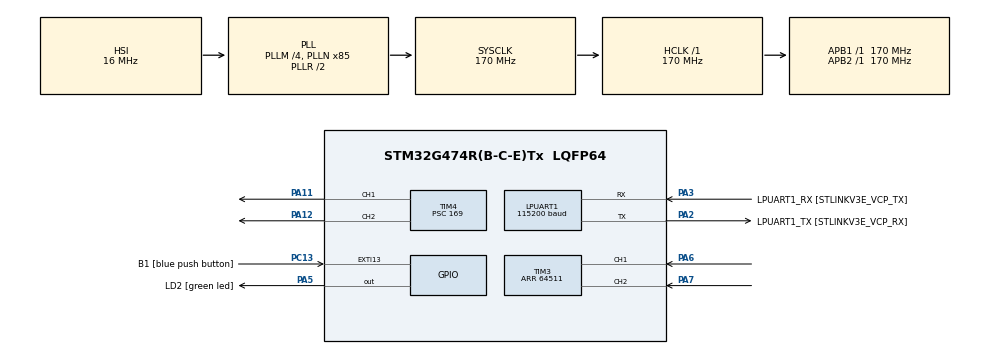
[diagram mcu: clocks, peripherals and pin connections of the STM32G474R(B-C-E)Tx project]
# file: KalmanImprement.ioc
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LPUART1.BaudRate=115200
LPUART1.WordLength=UART_WORDLENGTH_8B
Mcu.Family=STM32G4
Mcu.Name=STM32G474R(B-C-E)Tx
Mcu.Package=LQFP64
NVIC.EXTI15_10_IRQn=true\:0\:0\:false\:false\:true\:true\:true\:true
NVIC.PriorityGroup=NVIC_PRIORITYGROUP_4
NVIC.TIM6_DAC_IRQn=true\:0\:0\:false\:false\:true\:true\:true\:true
PA11.Signal=S_TIM4_CH1
PA12.Signal=S_TIM4_CH2
PA13.GPIO_Label=T_SWDIO
PA13.Mode=Serial_Wire
PA13.Signal=SYS_JTMS-SWDIO
PA14.GPIO_Label=T_SWCLK
PA14.Mode=Serial_Wire
PA14.Signal=SYS_JTCK-SWCLK
PA2.GPIO_Label=LPUART1_TX [STLINKV3E_VCP_RX]
PA2.Mode=Asynchronous
PA2.Signal=LPUART1_TX
PA3.GPIO_Label=LPUART1_RX [STLINKV3E_VCP_TX]
PA3.Mode=Asynchronous
PA3.Signal=LPUART1_RX
PA5.GPIO_Label=LD2 [green led]
PA5.Signal=GPIO_Output
PA6.Signal=S_TIM3_CH1
PA7.Signal=S_TIM3_CH2
PB3.GPIO_Label=T_SWO
PB3.Signal=SYS_JTDO-SWO
PC13.GPIO_Label=B1 [blue push button]
PC13.Signal=GPXTI13
PC14-OSC32_IN.Mode=LSE-External-Oscillator
PC14-OSC32_IN.Signal=RCC_OSC32_IN
PC15-OSC32_OUT.Mode=LSE-External-Oscillator
PC15-OSC32_OUT.Signal=RCC_OSC32_OUT
PF0-OSC_IN.Mode=HSE-External-Oscillator
PF0-OSC_IN.Signal=RCC_OSC_IN
PF1-OSC_OUT.Mode=HSE-External-Oscillator
PF1-OSC_OUT.Signal=RCC_OSC_OUT
ProjectManager.HeapSize=0x200
ProjectManager.StackSize=0x400
ProjectManager.TargetToolchain=STM32CubeIDE
RCC.ADC12Freq_Value=170000000
RCC.ADC345Freq_Value=170000000
RCC.AHBFreq_Value=170000000
RCC.APB1Freq_Value=170000000
RCC.APB1TimFreq_Value=170000000
RCC.APB2Freq_Value=170000000
RCC.APB2TimFreq_Value=170000000
RCC.CortexFreq_Value=170000000
RCC.EXTERNAL_CLOCK_VALUE=12288000
RCC.HCLKFreq_Value=170000000
RCC.HSE_VALUE=24000000
RCC.HSI48_VALUE=48000000
RCC.HSI_VALUE=16000000
RCC.PLLM=RCC_PLLM_DIV4
RCC.PLLN=85
RCC.RTCClockSelection=RCC_RTCCLKSOURCE_LSE
RCC.SYSCLKFreq_VALUE=170000000
RCC.SYSCLKSource=RCC_SYSCLKSOURCE_PLLCLK
RCC.USBFreq_Value=170000000
RCC.VCOOutputFreq_Value=340000000
SH.S_TIM3_CH1.0=TIM3_CH1,Encoder_Interface
SH.S_TIM3_CH2.0=TIM3_CH2,Encoder_Interface
SH.S_TIM4_CH1.0=TIM4_CH1,PWM Generation1 CH1
SH.S_TIM4_CH2.0=TIM4_CH2,PWM Generation2 CH2
TIM3.EncoderMode=TIM_ENCODERMODE_TI12
TIM3.PeriodNoDither=64511
TIM4.Channel-PWM\ Generation1\ CH1=TIM_CHANNEL_1
TIM4.Channel-PWM\ Generation2\ CH2=TIM_CHANNEL_2
TIM4.OCMode_PWM-PWM\ Generation2\ CH2=TIM_OCMODE_PWM1
TIM4.PeriodNoDither=19999
TIM4.Prescaler=169
TIM5.Prescaler=169
TIM6.AutoReloadPreload=TIM_AUTORELOAD_PRELOAD_ENABLE
TIM6.PeriodNoDither=999
TIM6.Prescaler=169
VP_SYS_VS_DBSignals.Mode=DisableDeadBatterySignals
VP_TIM4_VS_ClockSourceINT.Mode=Internal
VP_TIM5_VS_ClockSourceINT.Mode=Internal
VP_TIM6_VS_ClockSourceINT.Mode=Enable_Timer
board=NUCLEO-G474RE

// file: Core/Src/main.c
/* USER CODE BEGIN Header */
/**
  ******************************************************************************
  * @file           : main.c
  * @brief          : Main program body
  ******************************************************************************
  * @attention
  *
  * Copyright (c) 2024 STMicroelectronics.
  * All rights reserved.
  *
  * This software is licensed under terms that can be found in the LICENSE file
  * in the root directory of this software component.
  * If no LICENSE file comes with this software, it is provided AS-IS.
  *
  ******************************************************************************
  */
/* USER CODE END Header */
#include "main.h"

/* USER CODE BEGIN Includes */
#include "kalman_filter.h"
/* USER CODE END Includes */

UART_HandleTypeDef hlpuart1;

TIM_HandleTypeDef htim3;
TIM_HandleTypeDef htim4;
TIM_HandleTypeDef htim5;
TIM_HandleTypeDef htim6;

/* USER CODE BEGIN PV */
int start = 0;
float Pos_Start = 0;
float Pos_Target = 20;
float Old_Target = 0;
float Velo_Start = 0;
float Max_Velo = 4;
float Max_Acc = 4;
float t_Acc = 2;
float q_Pos,q_Velo,q_Acc,diff_Pos,t;
int state_Tra=0;
int direction = 1;
int m_Direction = 1;
float feedback[3];

int PWMDrive;
int scale = 4;
int16_t RPSspeed;
float speed;
float speed_1;
float MAXspeed;
float speed_fill;
float speed_fill_1;
float Pos;
float Accelation;
float Accelation_1;
float Accelation_fill;
float Accelation_fill_1;
double pulse;

float PWMmap;
float ONE;
float TWO;
float THREE;
float FOUR;
int FirstTraject = 1;

typedef struct
{
// for record New / Old value to calculate dx / dt
float Output[3];
float Error[3];
float kp;
float ki;
float kd;
float T;
}PID_StructureTypeDef;
PID_StructureTypeDef Velocontrol = {0};
PID_StructureTypeDef Poscontrol = {0};
PID_StructureTypeDef Acccontrol = {0};

uint32_t QEIReadRaw;
typedef struct
{
// for record New / Old value to calculate dx / dt
uint32_t Position[2];
uint64_t TimeStamp[2];
float QEIPostion_1turn;
float QEIAngularVelocity;
}QEI_StructureTypeDef;
QEI_StructureTypeDef QEIdata = {0};
uint64_t _micros = 0;
enum
{
NEW,OLD,OLDER
};
/* USER CODE END PV */

void SystemClock_Config(void);
static void MX_GPIO_Init(void);
static void MX_LPUART1_UART_Init(void);
static void MX_TIM3_Init(void);
static void MX_TIM5_Init(void);
static void MX_TIM4_Init(void);
static void MX_TIM6_Init(void);
/* USER CODE BEGIN PFP */
uint64_t micros();
void QEIEncoderPosVel_Update();
void PIDposition();
void Trajectory();
void reset();
float mapFloat(float x, float in_min, float in_max, float out_min, float out_max);
/* USER CODE END PFP */

int main(void)
{

  /* MCU Configuration--------------------------------------------------------*/

  /* Reset of all peripherals, Initializes the Flash interface and the Systick. */
  HAL_Init();

  /* Configure the system clock */
  SystemClock_Config();

  /* Initialize all configured peripherals */
  MX_GPIO_Init();
  MX_LPUART1_UART_Init();
  MX_TIM3_Init();
  MX_TIM5_Init();
  MX_TIM4_Init();
  MX_TIM6_Init();
  /* USER CODE BEGIN 2 */
  HAL_TIM_Base_Start(&htim4);
  HAL_TIM_Encoder_Start(&htim3,TIM_CHANNEL_ALL);
  HAL_TIM_PWM_Start(&htim4, TIM_CHANNEL_1);
  HAL_TIM_PWM_Start(&htim4, TIM_CHANNEL_2);
  HAL_TIM_Base_Start_IT(&htim6);
  HAL_TIM_Base_Start_IT(&htim5);

  Poscontrol.kp = 0;
  Poscontrol.ki = 0;
  Poscontrol.kd = 0;
  Poscontrol.T = 0.0001;

  Velocontrol.kp = 1.2;
  Velocontrol.ki = 0.4;
  Velocontrol.kd = 0;
  Velocontrol.T = 0.0001;

  /* USER CODE END 2 */

  /* Infinite loop */
  while (1)
  {

    /* USER CODE BEGIN 3 */
	  QEIReadRaw = __HAL_TIM_GET_COUNTER(&htim3);
	  static uint64_t timestamp =0;
	  static uint64_t timestamp2 =0;
	  int64_t currentTime = micros();
	  if(currentTime > timestamp)
	  {
	  timestamp =currentTime + 100;//us
	  QEIEncoderPosVel_Update();
	  }
	  if(start == 1)
	  {

		  Trajectory();
		  PIDposition();
		  if(fabs(Pos-Pos_Target)<0.01)
		  {
			  __HAL_TIM_SET_COMPARE(&htim4, TIM_CHANNEL_1,0);
			  __HAL_TIM_SET_COMPARE(&htim4, TIM_CHANNEL_2, 0);
			  if(state_Tra == 3)
			  {
			  start = 0;
			  }
		  }
	  }
	  else
	  {
	  __HAL_TIM_SET_COMPARE(&htim4, TIM_CHANNEL_1,0);
	  __HAL_TIM_SET_COMPARE(&htim4, TIM_CHANNEL_2, 0);
	  }

  }
  /* USER CODE END 3 */
}

void SystemClock_Config(void)
{
  RCC_OscInitTypeDef RCC_OscInitStruct = {0};
  RCC_ClkInitTypeDef RCC_ClkInitStruct = {0};

  /** Configure the main internal regulator output voltage
  */
  HAL_PWREx_ControlVoltageScaling(PWR_REGULATOR_VOLTAGE_SCALE1_BOOST);

  /** Initializes the RCC Oscillators according to the specified parameters
  * in the RCC_OscInitTypeDef structure.
  */
  RCC_OscInitStruct.OscillatorType = RCC_OSCILLATORTYPE_HSI;
  RCC_OscInitStruct.HSIState = RCC_HSI_ON;
  RCC_OscInitStruct.HSICalibrationValue = RCC_HSICALIBRATION_DEFAULT;
  RCC_OscInitStruct.PLL.PLLState = RCC_PLL_ON;
  RCC_OscInitStruct.PLL.PLLSource = RCC_PLLSOURCE_HSI;
  RCC_OscInitStruct.PLL.PLLM = RCC_PLLM_DIV4;
  RCC_OscInitStruct.PLL.PLLN = 85;
  RCC_OscInitStruct.PLL.PLLP = RCC_PLLP_DIV2;
  RCC_OscInitStruct.PLL.PLLQ = RCC_PLLQ_DIV2;
  RCC_OscInitStruct.PLL.PLLR = RCC_PLLR_DIV2;
  if (HAL_RCC_OscConfig(&RCC_OscInitStruct) != HAL_OK)
  {
    Error_Handler();
  }

  /** Initializes the CPU, AHB and APB buses clocks
  */
  RCC_ClkInitStruct.ClockType = RCC_CLOCKTYPE_HCLK|RCC_CLOCKTYPE_SYSCLK
                              |RCC_CLOCKTYPE_PCLK1|RCC_CLOCKTYPE_PCLK2;
  RCC_ClkInitStruct.SYSCLKSource = RCC_SYSCLKSOURCE_PLLCLK;
  RCC_ClkInitStruct.AHBCLKDivider = RCC_SYSCLK_DIV1;
  RCC_ClkInitStruct.APB1CLKDivider = RCC_HCLK_DIV1;
  RCC_ClkInitStruct.APB2CLKDivider = RCC_HCLK_DIV1;

  if (HAL_RCC_ClockConfig(&RCC_ClkInitStruct, FLASH_LATENCY_4) != HAL_OK)
  {
    Error_Handler();
  }
}

static void MX_LPUART1_UART_Init(void)
{

  hlpuart1.Instance = LPUART1;
  hlpuart1.Init.BaudRate = 115200;
  hlpuart1.Init.WordLength = UART_WORDLENGTH_8B;
  hlpuart1.Init.StopBits = UART_STOPBITS_1;
  hlpuart1.Init.Parity = UART_PARITY_NONE;
  hlpuart1.Init.Mode = UART_MODE_TX_RX;
  hlpuart1.Init.HwFlowCtl = UART_HWCONTROL_NONE;
  hlpuart1.Init.OneBitSampling = UART_ONE_BIT_SAMPLE_DISABLE;
  hlpuart1.Init.ClockPrescaler = UART_PRESCALER_DIV1;
  hlpuart1.AdvancedInit.AdvFeatureInit = UART_ADVFEATURE_NO_INIT;
  if (HAL_UART_Init(&hlpuart1) != HAL_OK)
  {
    Error_Handler();
  }
  if (HAL_UARTEx_SetTxFifoThreshold(&hlpuart1, UART_TXFIFO_THRESHOLD_1_8) != HAL_OK)
  {
    Error_Handler();
  }
  if (HAL_UARTEx_SetRxFifoThreshold(&hlpuart1, UART_RXFIFO_THRESHOLD_1_8) != HAL_OK)
  {
    Error_Handler();
  }
  if (HAL_UARTEx_DisableFifoMode(&hlpuart1) != HAL_OK)
  {
    Error_Handler();
  }

}

static void MX_TIM3_Init(void)
{

  TIM_Encoder_InitTypeDef sConfig = {0};
  TIM_MasterConfigTypeDef sMasterConfig = {0};

  htim3.Instance = TIM3;
  htim3.Init.Prescaler = 0;
  htim3.Init.CounterMode = TIM_COUNTERMODE_UP;
  htim3.Init.Period = 64511;
  htim3.Init.ClockDivision = TIM_CLOCKDIVISION_DIV1;
  htim3.Init.AutoReloadPreload = TIM_AUTORELOAD_PRELOAD_DISABLE;
  sConfig.EncoderMode = TIM_ENCODERMODE_TI12;
  sConfig.IC1Polarity = TIM_ICPOLARITY_RISING;
  sConfig.IC1Selection = TIM_ICSELECTION_DIRECTTI;
  sConfig.IC1Prescaler = TIM_ICPSC_DIV1;
  sConfig.IC1Filter = 0;
  sConfig.IC2Polarity = TIM_ICPOLARITY_RISING;
  sConfig.IC2Selection = TIM_ICSELECTION_DIRECTTI;
  sConfig.IC2Prescaler = TIM_ICPSC_DIV1;
  sConfig.IC2Filter = 0;
  if (HAL_TIM_Encoder_Init(&htim3, &sConfig) != HAL_OK)
  {
    Error_Handler();
  }
  sMasterConfig.MasterOutputTrigger = TIM_TRGO_RESET;
  sMasterConfig.MasterSlaveMode = TIM_MASTERSLAVEMODE_DISABLE;
  if (HAL_TIMEx_MasterConfigSynchronization(&htim3, &sMasterConfig) != HAL_OK)
  {
    Error_Handler();
  }

}

static void MX_TIM4_Init(void)
{

  TIM_ClockConfigTypeDef sClockSourceConfig = {0};
  TIM_MasterConfigTypeDef sMasterConfig = {0};
  TIM_OC_InitTypeDef sConfigOC = {0};

  htim4.Instance = TIM4;
  htim4.Init.Prescaler = 169;
  htim4.Init.CounterMode = TIM_COUNTERMODE_UP;
  htim4.Init.Period = 19999;
  htim4.Init.ClockDivision = TIM_CLOCKDIVISION_DIV1;
  htim4.Init.AutoReloadPreload = TIM_AUTORELOAD_PRELOAD_DISABLE;
  if (HAL_TIM_Base_Init(&htim4) != HAL_OK)
  {
    Error_Handler();
  }
  sClockSourceConfig.ClockSource = TIM_CLOCKSOURCE_INTERNAL;
  if (HAL_TIM_ConfigClockSource(&htim4, &sClockSourceConfig) != HAL_OK)
  {
    Error_Handler();
  }
  if (HAL_TIM_PWM_Init(&htim4) != HAL_OK)
  {
    Error_Handler();
  }
  sMasterConfig.MasterOutputTrigger = TIM_TRGO_RESET;
  sMasterConfig.MasterSlaveMode = TIM_MASTERSLAVEMODE_DISABLE;
  if (HAL_TIMEx_MasterConfigSynchronization(&htim4, &sMasterConfig) != HAL_OK)
  {
    Error_Handler();
  }
  sConfigOC.OCMode = TIM_OCMODE_PWM1;
  sConfigOC.Pulse = 0;
  sConfigOC.OCPolarity = TIM_OCPOLARITY_HIGH;
  sConfigOC.OCFastMode = TIM_OCFAST_DISABLE;
  if (HAL_TIM_PWM_ConfigChannel(&htim4, &sConfigOC, TIM_CHANNEL_1) != HAL_OK)
  {
    Error_Handler();
  }
  if (HAL_TIM_PWM_ConfigChannel(&htim4, &sConfigOC, TIM_CHANNEL_2) != HAL_OK)
  {
    Error_Handler();
  }
  HAL_TIM_MspPostInit(&htim4);

}

static void MX_TIM5_Init(void)
{

  TIM_ClockConfigTypeDef sClockSourceConfig = {0};
  TIM_MasterConfigTypeDef sMasterConfig = {0};

  htim5.Instance = TIM5;
  htim5.Init.Prescaler = 169;
  htim5.Init.CounterMode = TIM_COUNTERMODE_UP;
  htim5.Init.Period = 4294967295;
  htim5.Init.ClockDivision = TIM_CLOCKDIVISION_DIV1;
  htim5.Init.AutoReloadPreload = TIM_AUTORELOAD_PRELOAD_DISABLE;
  if (HAL_TIM_Base_Init(&htim5) != HAL_OK)
  {
    Error_Handler();
  }
  sClockSourceConfig.ClockSource = TIM_CLOCKSOURCE_INTERNAL;
  if (HAL_TIM_ConfigClockSource(&htim5, &sClockSourceConfig) != HAL_OK)
  {
    Error_Handler();
  }
  sMasterConfig.MasterOutputTrigger = TIM_TRGO_RESET;
  sMasterConfig.MasterSlaveMode = TIM_MASTERSLAVEMODE_DISABLE;
  if (HAL_TIMEx_MasterConfigSynchronization(&htim5, &sMasterConfig) != HAL_OK)
  {
    Error_Handler();
  }

}

static void MX_TIM6_Init(void)
{

  TIM_MasterConfigTypeDef sMasterConfig = {0};

  htim6.Instance = TIM6;
  htim6.Init.Prescaler = 169;
  htim6.Init.CounterMode = TIM_COUNTERMODE_UP;
  htim6.Init.Period = 999;
  htim6.Init.AutoReloadPreload = TIM_AUTORELOAD_PRELOAD_ENABLE;
  if (HAL_TIM_Base_Init(&htim6) != HAL_OK)
  {
    Error_Handler();
  }
  sMasterConfig.MasterOutputTrigger = TIM_TRGO_RESET;
  sMasterConfig.MasterSlaveMode = TIM_MASTERSLAVEMODE_DISABLE;
  if (HAL_TIMEx_MasterConfigSynchronization(&htim6, &sMasterConfig) != HAL_OK)
  {
    Error_Handler();
  }

}

static void MX_GPIO_Init(void)
{
  GPIO_InitTypeDef GPIO_InitStruct = {0};

  /* GPIO Ports Clock Enable */
  __HAL_RCC_GPIOC_CLK_ENABLE();
  __HAL_RCC_GPIOF_CLK_ENABLE();
  __HAL_RCC_GPIOA_CLK_ENABLE();
  __HAL_RCC_GPIOB_CLK_ENABLE();

  /*Configure GPIO pin Output Level */
  HAL_GPIO_WritePin(LD2_GPIO_Port, LD2_Pin, GPIO_PIN_RESET);

  /*Configure GPIO pin : B1_Pin */
  GPIO_InitStruct.Pin = B1_Pin;
  GPIO_InitStruct.Mode = GPIO_MODE_IT_RISING;
  GPIO_InitStruct.Pull = GPIO_NOPULL;
  HAL_GPIO_Init(B1_GPIO_Port, &GPIO_InitStruct);

  /*Configure GPIO pin : LD2_Pin */
  GPIO_InitStruct.Pin = LD2_Pin;
  GPIO_InitStruct.Mode = GPIO_MODE_OUTPUT_PP;
  GPIO_InitStruct.Pull = GPIO_NOPULL;
  GPIO_InitStruct.Speed = GPIO_SPEED_FREQ_LOW;
  HAL_GPIO_Init(LD2_GPIO_Port, &GPIO_InitStruct);

  /* EXTI interrupt init*/
  HAL_NVIC_SetPriority(EXTI15_10_IRQn, 0, 0);
  HAL_NVIC_EnableIRQ(EXTI15_10_IRQn);

}

/* USER CODE BEGIN 4 */
void HAL_TIM_PeriodElapsedCallback(TIM_HandleTypeDef *htim)
{
if(htim == &htim6)
{
kalman_predict(feedback, P_est, A, G, Q);
kalman_update(feedback,P_est, C, R, Pos);
}
if(htim == &htim5)
{
_micros += UINT32_MAX;
}
}
uint64_t micros()
{
return __HAL_TIM_GET_COUNTER(&htim5)+_micros;
}
void QEIEncoderPosVel_Update()
{
//collect data
QEIdata.TimeStamp[NEW] = micros();
QEIdata.Position[NEW] = __HAL_TIM_GET_COUNTER(&htim3);
//Postion 1 turn calculation
QEIdata.QEIPostion_1turn = QEIdata.Position[NEW] % 3072;
//calculate dx
int32_t diffPosition = QEIdata.Position[NEW] - QEIdata.Position[OLD];
//Handle Warp around
if(diffPosition > 32256)
diffPosition -=64512;
if(diffPosition < -32256)
diffPosition +=64512;
//calculate dt
float diffTime = (QEIdata.TimeStamp[NEW]-QEIdata.TimeStamp[OLD]) * 0.000001;
//calculate anglar velocity
Pos = (QEIdata.Position[NEW]*2*3.14/3072);
QEIdata.QEIAngularVelocity = diffPosition / diffTime;

speed = (QEIdata.QEIAngularVelocity*2*3.14)/3072;
speed_fill = (0.969*speed_fill_1)+(0.0155*speed)+(0.0155*speed_1);
speed_1 = speed;
speed_fill_1 = speed_fill;

//store value for next loop
static uint64_t timestamp_Accelation =0;
if(timestamp_Accelation < HAL_GetTick())
{
	static float oldVelo = 0;
	float diffVelocity = speed_fill - oldVelo;
	Accelation = (diffVelocity / 0.01);
	Accelation_fill = (0.969*Accelation_fill_1)+(0.0155*Accelation)+(0.0155*Accelation_1);
	Accelation_1 = Accelation;
	Accelation_fill_1 = Accelation_fill;
	oldVelo =  speed_fill;
timestamp_Accelation = HAL_GetTick()+10;
}
QEIdata.Position[OLD] = QEIdata.Position[NEW];
QEIdata.TimeStamp[OLD]=QEIdata.TimeStamp[NEW];
}

void Trajectory()
{
	static uint64_t timestamp_Traject =0;
		int64_t currentTime = micros();
		  if(timestamp_Traject < currentTime)
		  {
			  switch(state_Tra)
			  	  		  {
			  	  		  case 0:
			  	  			  if(Pos_Start > Pos_Target)
			  	  			  {
			  	  				  direction = -1;
			  	  			  }
			  	  			  else
			  	  			  {
			  	  				  direction = 1;
			  	  			  }
			  	  			  	q_Pos = Pos_Start + (Velo_Start*t)+((direction*0.5*Max_Acc)*(t*t));
			  	  			  	q_Velo = Velo_Start + direction*Max_Acc*t;
			  	  			  	q_Acc = Max_Acc*direction;
			  	  			  if(fabs(q_Velo) >= Max_Velo)
			  	  				{
			  	  					state_Tra = 1;
			  	  					Pos_Start = q_Pos;
			  	  					Velo_Start = q_Velo;
			  	  					t = 0;
			  	  				}
			  	  			  if(fabs((q_Pos-Pos_Start)*2) >= fabs(Pos_Target-Pos_Start))
			  	  			  {
			  	  				state_Tra = 2;
								Pos_Start = q_Pos;
								Velo_Start = q_Velo;
								t = 0;
			  	  			  }
			  	  			  	break;
			  	  		  case 1:
			  	  			  	q_Pos = Pos_Start +(Velo_Start*t);
			  	  			  	q_Velo = Velo_Start;
			  	  			  	q_Acc = 0;
			  	  			  if(fabs(Pos_Target-q_Pos) <= (q_Velo*q_Velo)/(2*Max_Acc))
			  	  				{
			  	  					state_Tra = 2;
			  	  					Pos_Start = q_Pos;
			  	  					Velo_Start = q_Velo;
			  	  					t = 0;
			  	  				}
			  	  			  	break;
			  	  		  case 2:
			  	  			  	q_Pos = Pos_Start + (Velo_Start*t)-((direction*0.5*Max_Acc)*(t*t));
			  	  			  	q_Velo = Velo_Start - direction*Max_Acc*t;
			  	  			  	q_Acc = -direction*Max_Acc;
			  	  			  if(fabs(q_Velo) <= 0)
			  	  				{
			  	  					state_Tra = 3;
			  	  					t = 0;
			  	  				}
			  	  			  	break;
			  	  		  case 3:
			  	  			  	if (FirstTraject == 1)
			  	  			  	{
			  	  			  	Old_Target = Pos_Target;
			  	  			  	FirstTraject = 0;
			  	  			  	q_Acc = 0;
			  	  			  	}
			  	  			  	if(Pos_Target != Old_Target)
			  	  			  	{
			  	  			  		state_Tra = 0;
			  	  			  		t = 0;
			  	  			  		Pos_Start = Pos;
//			  	  			  		Pos_Start = q_Pos;
			  	  			  		Velo_Start = q_Velo;
			  	  			  		q_Acc = 0;
			  	  			  		Old_Target = Pos_Target;
			  	  			  		reset();

			  	  			  	}
			  	  			  	break;
			  	  		  }
		  t = t+0.0001;
		  timestamp_Traject = currentTime + 100;
		  }
}

void reset(){
	Velocontrol.Error[NEW] = 0;
	Velocontrol.Error[OLD] = 0;
	Velocontrol.Error[OLDER] = 0;
	Velocontrol.Output[NEW] = 0;
	Velocontrol.Output[OLD] = 0;
	Velocontrol.Output[OLDER] = 0;

	Poscontrol.Error[NEW] = 0;
	Poscontrol.Error[OLD] = 0;
	Poscontrol.Error[OLDER] = 0;
	Poscontrol.Output[NEW] = 0;
	Poscontrol.Output[OLD] = 0;
	Poscontrol.Output[OLDER] = 0;
	PWMmap = 0;
	Pos_Start = Pos;
	Velo_Start = 0;
	t = 0;
}

void PIDposition()
{
	static uint64_t timestamp3 =0;
	int64_t currentTime = micros();
	if(currentTime > timestamp3)
	  {
			Poscontrol.Error[NEW] = q_Pos - Pos;//
//			Poscontrol.Output[NEW] = ((((Poscontrol.kp*Poscontrol.T)+(Poscontrol.ki*Poscontrol.T*Poscontrol.T)+(Poscontrol.kd))*Poscontrol.Error[NEW])-(((Poscontrol.kp*Poscontrol.T)+(2*Poscontrol.kd))*Poscontrol.Error[OLD])+(Poscontrol.kd*Poscontrol.Error[OLDER])+(Poscontrol.Output[OLD]*Poscontrol.T))/Poscontrol.T;
			Poscontrol.Output[NEW] = ((((Poscontrol.kp*2*Poscontrol.T)+(Poscontrol.ki*Poscontrol.T*Poscontrol.T)+(2*Poscontrol.kd))*Poscontrol.Error[NEW])-(((Poscontrol.kp*2*Poscontrol.T)-(Poscontrol.ki*Poscontrol.T*Poscontrol.T)+(4*Poscontrol.kd))*Poscontrol.Error[OLD])+(2*Poscontrol.kd*Poscontrol.Error[OLDER])+(Poscontrol.Output[OLD]*2*Poscontrol.T))/(2*Poscontrol.T);
			Poscontrol.Error[OLDER] = Poscontrol.Error[OLD];
			Poscontrol.Error[OLD] = Poscontrol.Error[NEW];
			Poscontrol.Output[OLDER] = Poscontrol.Output[OLD];
			Poscontrol.Output[OLD] = Poscontrol.Output[NEW];

			Velocontrol.Error[NEW] = Poscontrol.Output[NEW]+q_Velo-speed_fill;//
			ONE = (((Velocontrol.kp*2*Velocontrol.T)+(Velocontrol.ki*Velocontrol.T*Velocontrol.T)+(2*Velocontrol.kd))*Velocontrol.Error[NEW])/(2*Velocontrol.T);
			TWO = (((Velocontrol.kp*2*Velocontrol.T)-(Velocontrol.ki*Velocontrol.T*Velocontrol.T)+(4*Velocontrol.kd))*Velocontrol.Error[OLD])/(2*Velocontrol.T);
			THREE = (2*Velocontrol.kd*Velocontrol.Error[OLDER])/(2*Velocontrol.T);
			FOUR = (Velocontrol.Output[OLD]*2*Velocontrol.T)/(2*Velocontrol.T);
			Velocontrol.Output[NEW] = (ONE-TWO+THREE+FOUR);//
//			test = (ONE-TWO+THREE+FOUR);
			if(Velocontrol.Output[NEW]>3.3)Velocontrol.Output[NEW]=3.3;
			if(Velocontrol.Output[NEW]<-3.3)Velocontrol.Output[NEW]=-3.3;
			Velocontrol.Error[OLDER] = Velocontrol.Error[OLD];
			Velocontrol.Error[OLD] = Velocontrol.Error[NEW];
			Velocontrol.Output[OLD] = Velocontrol.Output[NEW];

//			Velocontrol.Error[NEW] = Poscontrol.Output[NEW]+q_Velo-speed_fill;//-speed_fill
//			Velocontrol.Output[NEW] = ((((Velocontrol.kp*Velocontrol.T)+(Velocontrol.ki*Velocontrol.T*Velocontrol.T)+(Velocontrol.kd))*Velocontrol.Error[NEW])-(((Velocontrol.kp*Velocontrol.T)+(2*Velocontrol.kd))*Velocontrol.Error[OLD])+(Velocontrol.kd*Velocontrol.Error[OLDER])+(Velocontrol.Output[OLD]*Velocontrol.T))/Velocontrol.T;//
//			if(Velocontrol.Output[NEW]>42500)Velocontrol.Output[NEW]=42500;
//			if(Velocontrol.Output[NEW]<-42500)Velocontrol.Output[NEW]=-42500;
//			Velocontrol.Error[OLDER] = Velocontrol.Error[OLD];
//			Velocontrol.Error[OLD] = Velocontrol.Error[NEW];
//			Velocontrol.Output[OLDER] = Velocontrol.Output[OLD];
//			Velocontrol.Output[OLD] = Velocontrol.Output[NEW];
	//					if(fabs(Pos_Target-Pos) <= 0.1)start = 0;
			timestamp3 =currentTime + 100;
	  }
		PWMmap = mapFloat(Velocontrol.Output[NEW],-3.3,3.3,-20000,20000);
	  if(PWMmap > 0)
	  {
		  __HAL_TIM_SET_COMPARE(&htim4, TIM_CHANNEL_1, 0);
		  __HAL_TIM_SET_COMPARE(&htim4, TIM_CHANNEL_2, PWMmap);
	  }
	  else
	  {
		  __HAL_TIM_SET_COMPARE(&htim4, TIM_CHANNEL_1, fabs(PWMmap));
		  __HAL_TIM_SET_COMPARE(&htim4, TIM_CHANNEL_2, 0);
	  }
}
float mapFloat(float x, float in_min, float in_max, float out_min, float out_max) {
    return (x - in_min) * (out_max - out_min) / (in_max - in_min) + out_min;
}
void HAL_GPIO_EXTI_Callback(uint16_t GPIO_Pin)
{
	if(GPIO_Pin == GPIO_PIN_13)
	{
		start  = 1;
	}
}
/* USER CODE END 4 */

void Error_Handler(void)
{
  __disable_irq();
  while (1)
  {
  }
}
